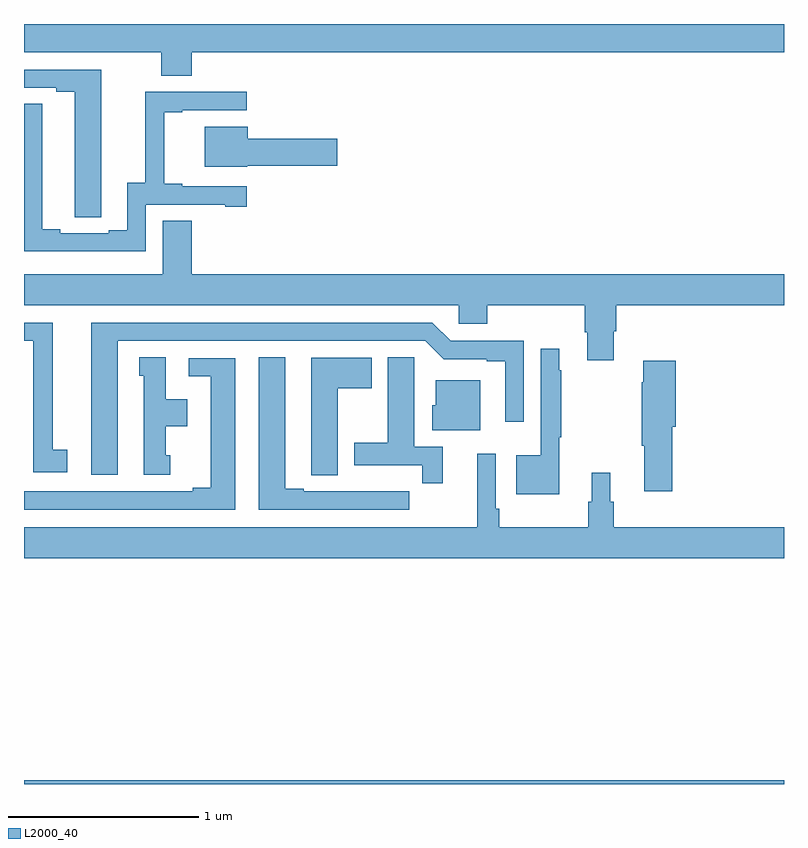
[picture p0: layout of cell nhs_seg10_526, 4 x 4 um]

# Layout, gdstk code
import gdstk
lib = gdstk.Library(unit=1e-6, precision=1e-09)
def R(c, l, rs):  # rectangles x0, y0, x1, y1
    for r in rs: c.add(gdstk.rectangle(r[:2], r[2:], *l))
def P(c, l, *ps):  # polygons
    for p in ps: c.add(gdstk.Polygon(p, *l))
L2000_40 = (2000, 40)

nhs_seg10_526 = lib.new_cell('nhs_seg10_526')
R(nhs_seg10_526, L2000_40, [(137,1260.5,141,1260.52)])
P(nhs_seg10_526, L2000_40, [(137.882,1264.352),(141,1264.352),(141,1264.5),(137,1264.5),(137,1264.352),(137.722,1264.352),(137.722,1264.228),(137.882,1264.228)],
  [(137.406,1263.592),(137.407,1263.592),(137.407,1264.26),(137,1264.26),(137,1264.164),(137.171,1264.164),(137.171,1264.144),(137.267,1264.144),(137.267,1263.484),(137.406,1263.484)],
  [(137.64,1263.549),(138.059,1263.549),(138.059,1263.537),(138.172,1263.537),(138.172,1263.645),(137.833,1263.645),(137.833,1263.658),(137.738,1263.658),(137.738,1264.035),(137.833,1264.035),(137.833,1264.047),(138.172,1264.047),(138.172,1264.143),(137.638,1264.143),(137.638,1263.665),(137.543,1263.665),(137.543,1263.414),(137.447,1263.414),(137.447,1263.399),(137.191,1263.399),(137.191,1263.419),(137.095,1263.419),(137.095,1264.079),(137,1264.079),(137,1263.303),(137.64,1263.303)],
  [(138.174,1263.755),(138.649,1263.755),(138.649,1263.897),(138.178,1263.897),(138.178,1263.958),(137.951,1263.958),(137.951,1263.749),(138.174,1263.749)],
  [(140.104,1262.883),(140.117,1262.883),(140.117,1263.02),(141,1263.02),(141,1263.184),(137.882,1263.184),(137.882,1263.464),(137.729,1263.464),(137.729,1263.184),(137,1263.184),(137,1263.02),(139.287,1263.02),(139.287,1262.922),(139.439,1262.922),(139.439,1263.02),(139.952,1263.02),(139.952,1262.878),(139.964,1262.878),(139.964,1262.73),(140.104,1262.73)],
  [(137.227,1262.258),(137.152,1262.258),(137.152,1262.928),(137,1262.928),(137,1262.832),(137.048,1262.832),(137.048,1262.142),(137.227,1262.142)],
  [(137.494,1262.832),(139.113,1262.832),(139.209,1262.736),(139.436,1262.736),(139.436,1262.724),(139.532,1262.724),(139.532,1262.406),(139.629,1262.406),(139.629,1262.832),(139.245,1262.832),(139.149,1262.928),(137.354,1262.928),(137.354,1262.127),(137.494,1262.127)],
  [(139.816,1262.326),(139.828,1262.326),(139.828,1262.678),(139.816,1262.678),(139.816,1262.791),(139.719,1262.791),(139.719,1262.23),(139.592,1262.23),(139.592,1262.024),(139.816,1262.024)],
  [(137.77,1262.229),(137.746,1262.229),(137.746,1262.384),(137.86,1262.384),(137.86,1262.524),(137.746,1262.524),(137.746,1262.747),(137.606,1262.747),(137.606,1262.649),(137.63,1262.649),(137.63,1262.127),(137.77,1262.127)],
  [(139.027,1262.04),(138.914,1262.04),(138.914,1262.041),(138.748,1262.041),(138.748,1262.04),(138.472,1262.04),(138.472,1262.055),(138.376,1262.055),(138.376,1262.747),(138.236,1262.747),(138.236,1261.944),(139.027,1261.944)],
  [(139.205,1262.274),(139.054,1262.274),(139.054,1262.636),(139.053,1262.636),(139.053,1262.747),(138.914,1262.747),(138.914,1262.295),(138.737,1262.295),(138.737,1262.178),(139.096,1262.178),(139.096,1262.082),(139.205,1262.082)],
  [(138.652,1262.584),(138.829,1262.584),(138.829,1262.743),(138.512,1262.743),(138.512,1262.233),(138.513,1262.233),(138.513,1262.125),(138.652,1262.125)],
  [(138.112,1262.742),(137.868,1262.742),(137.868,1262.646),(137.984,1262.646),(137.984,1262.06),(137.888,1262.06),(137.888,1262.04),(137,1262.04),(137,1261.944),(138.112,1261.944)],
  [(140.411,1262.379),(140.429,1262.379),(140.429,1262.728),(140.258,1262.728),(140.258,1262.615),(140.251,1262.615),(140.251,1262.279),(140.264,1262.279),(140.264,1262.04),(140.411,1262.04)],
  [(139.402,1262.626),(139.166,1262.626),(139.166,1262.493),(139.148,1262.493),(139.148,1262.363),(139.402,1262.363)],
  [(141,1261.852),(140.105,1261.852),(140.105,1261.986),(140.086,1261.986),(140.086,1262.137),(139.988,1262.137),(139.988,1261.986),(139.969,1261.986),(139.969,1261.852),(139.502,1261.852),(139.502,1261.948),(139.482,1261.948),(139.482,1262.239),(139.385,1262.239),(139.385,1261.852),(137,1261.852),(137,1261.688),(141,1261.688)])

lib.write_gds('nhs_seg10_526.gds')
